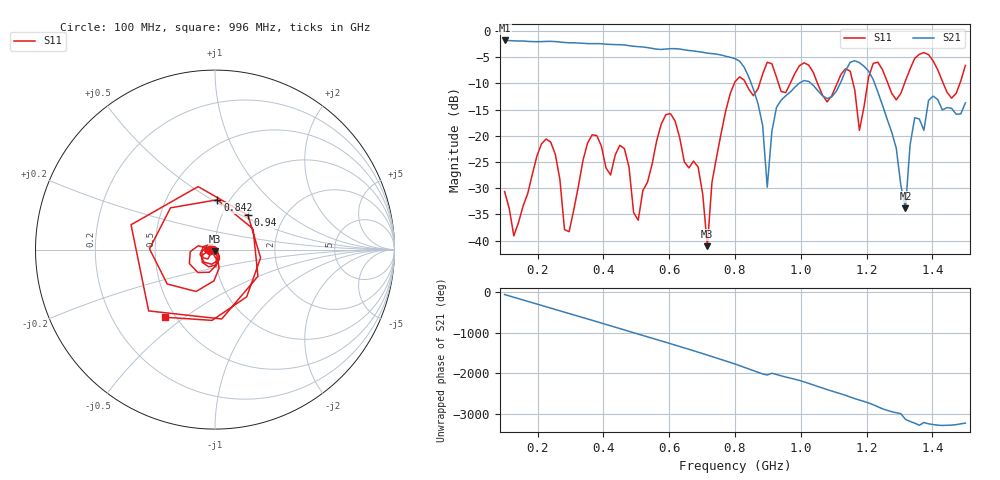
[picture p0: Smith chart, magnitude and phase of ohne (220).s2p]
! NanoVNA-App
! Date: 2025-09-25 14:22:30
! Start: 100MHz Stop: 1,5GHz Points: 101
! S-Parameter data: F S11 S21 S12 S22
# Hz S RI R 50
!  Frequency  S11_Real  S11_Imag  S21_Real  S21_Imag  S12_Real  S12_Imag  S22_Real  S22_Imag
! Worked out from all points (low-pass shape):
!   101 points, 100 MHz to 1.5 GHz, reference 50 ohm
!   highest |S21| = -1.79 dB at 100 MHz (marker M1); lowest = -33.8 dB at 1.318 GHz (marker M2)
!   |S21| within 3 dB of the highest: start of sweep to 771.1 MHz
!   lowest |S11| = -41.1 dB at 716 MHz (marker M3), VSWR 1.02, Z = 49.7 - j0.846 ohm
!   |S11| at or under -10 dB: start of sweep to 797.9 MHz; 833.1 MHz to 875 MHz (41.98 MHz wide, 4.92 % of centre); 1.051 GHz to 1.11 GHz (59.35 MHz wide, 5.49 % of centre) (the widest 3 of 7)
!   S12 and S22 are empty: the file has one direction only
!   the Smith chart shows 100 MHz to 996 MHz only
!   S11 on the Smith chart (normalised r, x): 100 MHz: 0.94, -0.01; 842 MHz: 0.88, +0.53; 940 MHz: 1.32, +0.55; 996 MHz: 0.44, -0.43
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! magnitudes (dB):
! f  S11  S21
! 100 MHz  -30.6  -1.8
! 128 MHz  -39.1  -1.9
! 226 MHz  -20.6  -2.0
! 296 MHz  -38.3  -2.2
! 338 MHz  -24.7  -2.3
! 464 MHz  -22.4  -2.7
! 506 MHz  -36.1  -3.0
! 576 MHz  -17.7  -3.5
! 688 MHz  -26.0  -3.9
! 716 MHz  -41.1  -4.2
! 800 MHz  -9.7  -5.3
! 842 MHz  -11.1  -8.8
! 898 MHz  -6.0  -29.8
! 940 MHz  -11.5  -13.2
! 996 MHz  -6.6  -9.9
! 1.038 GHz  -7.9  -10.4
! 1.178 GHz  -19.0  -6.0
! 1.22 GHz  -6.2  -9.3
! 1.276 GHz  -11.9  -19.3
! 1.318 GHz  -9.5  -33.8
! 1.346 GHz  -5.2  -16.5
! 1.5 GHz  -6.6  -13.7
